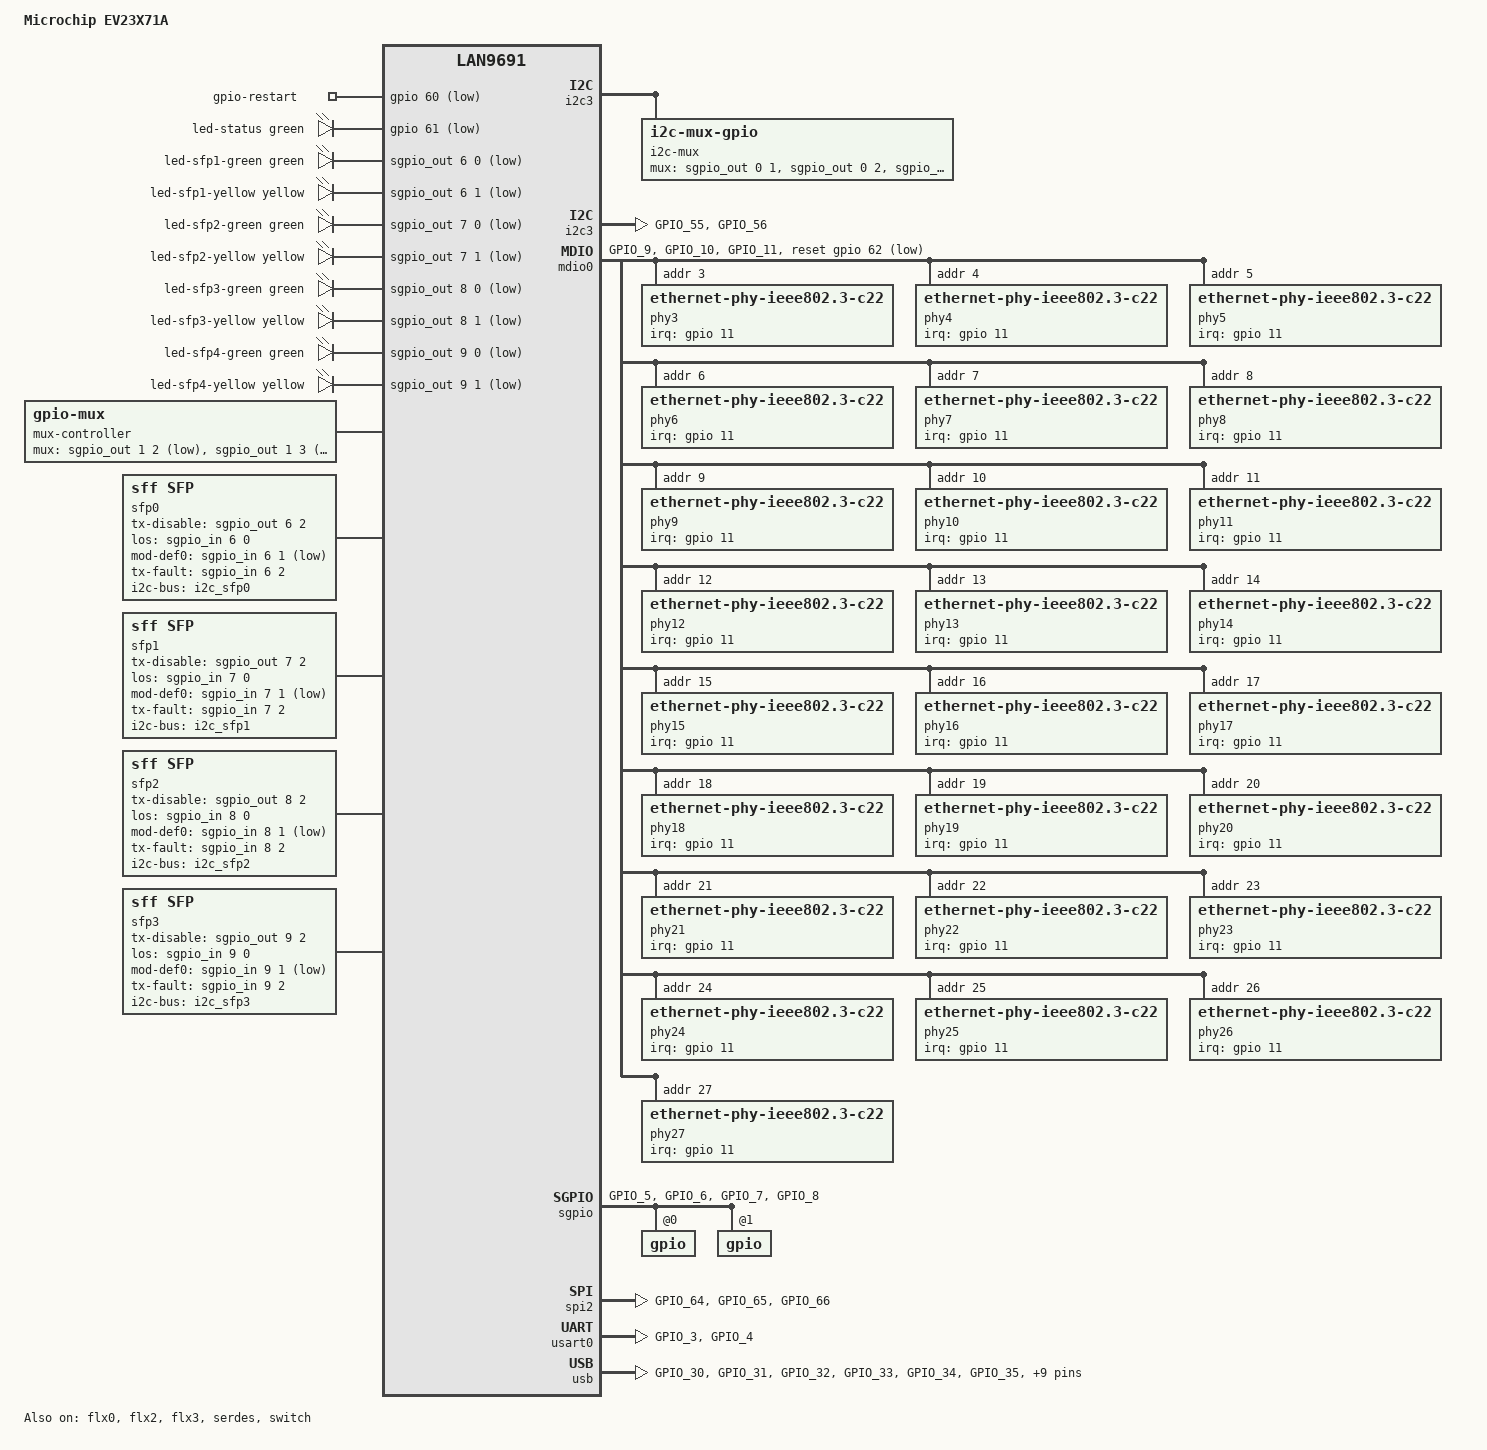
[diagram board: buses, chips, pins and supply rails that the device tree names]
// SPDX-License-Identifier: (GPL-2.0-or-later OR MIT)
/*
 * Copyright (c) 2025 Microchip Technology Inc. and its subsidiaries.
 */

/dts-v1/;

#include <dt-bindings/gpio/gpio.h>
#include <dt-bindings/leds/common.h>
#include "lan9691.dtsi"

/ {
	model = "Microchip EV23X71A";
	compatible = "microchip,ev23x71a", "microchip,lan9696", "microchip,lan9691";

	aliases {
		serial0 = &usart0;
	};

	chosen {
		stdout-path = "serial0:115200n8";
	};

	gpio-restart {
		compatible = "gpio-restart";
		gpios = <&gpio 60 GPIO_ACTIVE_LOW>;
		open-source;
		priority = <200>;
	};

	i2c-mux {
		compatible = "i2c-mux-gpio";
		#address-cells = <1>;
		#size-cells = <0>;
		i2c-parent = <&i2c3>;
		idle-state = <0x8>;
		mux-gpios = <&sgpio_out 0 1 GPIO_ACTIVE_HIGH>,
			    <&sgpio_out 0 2 GPIO_ACTIVE_HIGH>,
			    <&sgpio_out 0 3 GPIO_ACTIVE_HIGH>;
		settle-time-us = <100>;

		i2c_sfp0: i2c@0 {
			reg = <0x0>;
		};

		i2c_sfp1: i2c@1 {
			reg = <0x1>;
		};

		i2c_sfp2: i2c@2 {
			reg = <0x2>;
		};

		i2c_sfp3: i2c@3 {
			reg = <0x3>;
		};

		i2c_poe: i2c@7 {
			reg = <0x7>;
		};
	};

	leds {
		compatible = "gpio-leds";

		led-status {
			color = <LED_COLOR_ID_GREEN>;
			function = LED_FUNCTION_STATUS;
			gpios = <&gpio 61 GPIO_ACTIVE_LOW>;
		};

		led-sfp1-green {
			color = <LED_COLOR_ID_GREEN>;
			function = LED_FUNCTION_LAN;
			function-enumerator = <0>;
			gpios = <&sgpio_out 6 0 GPIO_ACTIVE_LOW>;
			default-state = "off";
		};

		led-sfp1-yellow {
			color = <LED_COLOR_ID_YELLOW>;
			function = LED_FUNCTION_LAN;
			function-enumerator = <0>;
			gpios = <&sgpio_out 6 1 GPIO_ACTIVE_LOW>;
			default-state = "off";
		};

		led-sfp2-green {
			color = <LED_COLOR_ID_GREEN>;
			function = LED_FUNCTION_LAN;
			function-enumerator = <1>;
			gpios = <&sgpio_out 7 0 GPIO_ACTIVE_LOW>;
			default-state = "off";
		};

		led-sfp2-yellow {
			color = <LED_COLOR_ID_YELLOW>;
			function = LED_FUNCTION_LAN;
			function-enumerator = <1>;
			gpios = <&sgpio_out 7 1 GPIO_ACTIVE_LOW>;
			default-state = "off";
		};

		led-sfp3-green {
			color = <LED_COLOR_ID_GREEN>;
			function = LED_FUNCTION_LAN;
			function-enumerator = <2>;
			gpios = <&sgpio_out 8 0 GPIO_ACTIVE_LOW>;
			default-state = "off";
		};

		led-sfp3-yellow {
			color = <LED_COLOR_ID_YELLOW>;
			function = LED_FUNCTION_LAN;
			function-enumerator = <2>;
			gpios = <&sgpio_out 8 1 GPIO_ACTIVE_LOW>;
			default-state = "off";
		};

		led-sfp4-green {
			color = <LED_COLOR_ID_GREEN>;
			function = LED_FUNCTION_LAN;
			function-enumerator = <3>;
			gpios = <&sgpio_out 9 0 GPIO_ACTIVE_LOW>;
			default-state = "off";
		};

		led-sfp4-yellow {
			color = <LED_COLOR_ID_YELLOW>;
			function = LED_FUNCTION_LAN;
			function-enumerator = <3>;
			gpios = <&sgpio_out 9 1 GPIO_ACTIVE_LOW>;
			default-state = "off";
		};
	};

	mux-controller {
		compatible = "gpio-mux";
		#mux-control-cells = <0>;
		mux-gpios = <&sgpio_out 1 2 GPIO_ACTIVE_LOW>,
			    <&sgpio_out 1 3 GPIO_ACTIVE_LOW>;
	};

	sfp0: sfp0 {
		compatible = "sff,sfp";
		i2c-bus = <&i2c_sfp0>;
		tx-disable-gpios = <&sgpio_out 6 2 GPIO_ACTIVE_HIGH>;
		los-gpios = <&sgpio_in 6 0 GPIO_ACTIVE_HIGH>;
		mod-def0-gpios = <&sgpio_in 6 1 GPIO_ACTIVE_LOW>;
		tx-fault-gpios = <&sgpio_in 6 2 GPIO_ACTIVE_HIGH>;
	};

	sfp1: sfp1 {
		compatible = "sff,sfp";
		i2c-bus = <&i2c_sfp1>;
		tx-disable-gpios = <&sgpio_out 7 2 GPIO_ACTIVE_HIGH>;
		los-gpios = <&sgpio_in 7 0 GPIO_ACTIVE_HIGH>;
		mod-def0-gpios = <&sgpio_in 7 1 GPIO_ACTIVE_LOW>;
		tx-fault-gpios = <&sgpio_in 7 2 GPIO_ACTIVE_HIGH>;
	};

	sfp2: sfp2 {
		compatible = "sff,sfp";
		i2c-bus = <&i2c_sfp2>;
		tx-disable-gpios = <&sgpio_out 8 2 GPIO_ACTIVE_HIGH>;
		los-gpios = <&sgpio_in 8 0 GPIO_ACTIVE_HIGH>;
		mod-def0-gpios = <&sgpio_in 8 1 GPIO_ACTIVE_LOW>;
		tx-fault-gpios = <&sgpio_in 8 2 GPIO_ACTIVE_HIGH>;
	};

	sfp3: sfp3 {
		compatible = "sff,sfp";
		i2c-bus = <&i2c_sfp3>;
		tx-disable-gpios = <&sgpio_out 9 2 GPIO_ACTIVE_HIGH>;
		los-gpios = <&sgpio_in 9 0 GPIO_ACTIVE_HIGH>;
		mod-def0-gpios = <&sgpio_in 9 1 GPIO_ACTIVE_LOW>;
		tx-fault-gpios = <&sgpio_in 9 2 GPIO_ACTIVE_HIGH>;
	};
};

&gpio {
	emmc_sd_pins: emmc-sd-pins {
		/* eMMC_SD - CMD, CLK, D0, D1, D2, D3, D4, D5, D6, D7, RSTN */
		pins = "GPIO_14", "GPIO_15", "GPIO_16", "GPIO_17",
		       "GPIO_18", "GPIO_19", "GPIO_20", "GPIO_21",
		       "GPIO_22", "GPIO_23", "GPIO_24";
		function = "emmc_sd";
	};

	fan_pins: fan-pins {
		pins = "GPIO_25", "GPIO_26";
		function = "fan";
	};

	fc0_pins: fc0-pins {
		pins = "GPIO_3", "GPIO_4";
		function = "fc";
	};

	fc2_pins: fc2-pins {
		pins = "GPIO_64", "GPIO_65", "GPIO_66";
		function = "fc";
	};

	fc3_pins: fc3-pins {
		pins = "GPIO_55", "GPIO_56";
		function = "fc";
	};

	mdio_irq_pins: mdio-irq-pins {
		pins = "GPIO_11";
		function = "miim_irq";
	};

	mdio_pins: mdio-pins {
		pins = "GPIO_9", "GPIO_10";
		function = "miim";
	};

	ptp_ext_pins: ptp-ext-pins {
		pins = "GPIO_59";
		function = "ptpsync_5";
	};

	ptp_out_pins: ptp-out-pins {
		pins = "GPIO_58";
		function = "ptpsync_4";
	};

	sgpio_pins: sgpio-pins {
		/* SCK, D0, D1, LD */
		pins = "GPIO_5", "GPIO_6", "GPIO_7", "GPIO_8";
		function = "sgpio_a";
	};

	usb_over_pins: usb-over-pins {
		pins = "GPIO_13";
		function = "usb_over_detect";
	};

	usb_power_pins: usb-power-pins {
		pins = "GPIO_1";
		function = "usb_power";
	};

	usb_rst_pins: usb-rst-pins {
		pins = "GPIO_12";
		function = "usb2phy_rst";
	};

	usb_ulpi_pins: usb-ulpi-pins {
		pins = "GPIO_30", "GPIO_31", "GPIO_32", "GPIO_33",
		       "GPIO_34", "GPIO_35", "GPIO_36", "GPIO_37",
		       "GPIO_38", "GPIO_39", "GPIO_40", "GPIO_41";
		function = "usb_ulpi";
	};
};

&flx0 {
	atmel,flexcom-mode = <ATMEL_FLEXCOM_MODE_USART>;
	status = "okay";
};

&flx2 {
	atmel,flexcom-mode = <ATMEL_FLEXCOM_MODE_SPI>;
	status = "okay";
};

&flx3 {
	atmel,flexcom-mode = <ATMEL_FLEXCOM_MODE_TWI>;
	status = "okay";
};

&i2c3 {
	pinctrl-0 = <&fc3_pins>;
	pinctrl-names = "default";
	i2c-analog-filter;
	i2c-digital-filter;
	i2c-digital-filter-width-ns = <35>;
	i2c-sda-hold-time-ns = <1500>;
	status = "okay";
};

&mdio0 {
	pinctrl-0 = <&mdio_pins>, <&mdio_irq_pins>;
	pinctrl-names = "default";
	reset-gpios = <&gpio 62 GPIO_ACTIVE_LOW>;
	status = "okay";

	phy3: phy@3 {
		compatible = "ethernet-phy-ieee802.3-c22";
		reg = <3>;
		interrupts = <11 IRQ_TYPE_LEVEL_LOW>;
		interrupt-parent = <&gpio>;
	};

	phy4: phy@4 {
		compatible = "ethernet-phy-ieee802.3-c22";
		reg = <4>;
		interrupts = <11 IRQ_TYPE_LEVEL_LOW>;
		interrupt-parent = <&gpio>;
	};

	phy5: phy@5 {
		compatible = "ethernet-phy-ieee802.3-c22";
		reg = <5>;
		interrupts = <11 IRQ_TYPE_LEVEL_LOW>;
		interrupt-parent = <&gpio>;
	};

	phy6: phy@6 {
		compatible = "ethernet-phy-ieee802.3-c22";
		reg = <6>;
		interrupts = <11 IRQ_TYPE_LEVEL_LOW>;
		interrupt-parent = <&gpio>;
	};

	phy7: phy@7 {
		compatible = "ethernet-phy-ieee802.3-c22";
		reg = <7>;
		interrupts = <11 IRQ_TYPE_LEVEL_LOW>;
		interrupt-parent = <&gpio>;
	};

	phy8: phy@8 {
		compatible = "ethernet-phy-ieee802.3-c22";
		reg = <8>;
		interrupts = <11 IRQ_TYPE_LEVEL_LOW>;
		interrupt-parent = <&gpio>;
	};

	phy9: phy@9 {
		compatible = "ethernet-phy-ieee802.3-c22";
		reg = <9>;
		interrupts = <11 IRQ_TYPE_LEVEL_LOW>;
		interrupt-parent = <&gpio>;
	};

	phy10: phy@10 {
		compatible = "ethernet-phy-ieee802.3-c22";
		reg = <10>;
		interrupts = <11 IRQ_TYPE_LEVEL_LOW>;
		interrupt-parent = <&gpio>;
	};

	phy11: phy@11 {
		compatible = "ethernet-phy-ieee802.3-c22";
		reg = <11>;
		interrupts = <11 IRQ_TYPE_LEVEL_LOW>;
		interrupt-parent = <&gpio>;
	};

	phy12: phy@12 {
		compatible = "ethernet-phy-ieee802.3-c22";
		reg = <12>;
		interrupts = <11 IRQ_TYPE_LEVEL_LOW>;
		interrupt-parent = <&gpio>;
	};

	phy13: phy@13 {
		compatible = "ethernet-phy-ieee802.3-c22";
		reg = <13>;
		interrupts = <11 IRQ_TYPE_LEVEL_LOW>;
		interrupt-parent = <&gpio>;
	};

	phy14: phy@14 {
		compatible = "ethernet-phy-ieee802.3-c22";
		reg = <14>;
		interrupts = <11 IRQ_TYPE_LEVEL_LOW>;
		interrupt-parent = <&gpio>;
	};

	phy15: phy@15 {
		compatible = "ethernet-phy-ieee802.3-c22";
		reg = <15>;
		interrupts = <11 IRQ_TYPE_LEVEL_LOW>;
		interrupt-parent = <&gpio>;
	};

	phy16: phy@16 {
		compatible = "ethernet-phy-ieee802.3-c22";
		reg = <16>;
		interrupts = <11 IRQ_TYPE_LEVEL_LOW>;
		interrupt-parent = <&gpio>;
	};

	phy17: phy@17 {
		compatible = "ethernet-phy-ieee802.3-c22";
		reg = <17>;
		interrupts = <11 IRQ_TYPE_LEVEL_LOW>;
		interrupt-parent = <&gpio>;
	};

	phy18: phy@18 {
		compatible = "ethernet-phy-ieee802.3-c22";
		reg = <18>;
		interrupts = <11 IRQ_TYPE_LEVEL_LOW>;
		interrupt-parent = <&gpio>;
	};

	phy19: phy@19 {
		compatible = "ethernet-phy-ieee802.3-c22";
		reg = <19>;
		interrupts = <11 IRQ_TYPE_LEVEL_LOW>;
		interrupt-parent = <&gpio>;
	};

	phy20: phy@20 {
		compatible = "ethernet-phy-ieee802.3-c22";
		reg = <20>;
		interrupts = <11 IRQ_TYPE_LEVEL_LOW>;
		interrupt-parent = <&gpio>;
	};

	phy21: phy@21 {
		compatible = "ethernet-phy-ieee802.3-c22";
		reg = <21>;
		interrupts = <11 IRQ_TYPE_LEVEL_LOW>;
		interrupt-parent = <&gpio>;
	};

	phy22: phy@22 {
		compatible = "ethernet-phy-ieee802.3-c22";
		reg = <22>;
		interrupts = <11 IRQ_TYPE_LEVEL_LOW>;
		interrupt-parent = <&gpio>;
	};

	phy23: phy@23 {
		compatible = "ethernet-phy-ieee802.3-c22";
		reg = <23>;
		interrupts = <11 IRQ_TYPE_LEVEL_LOW>;
		interrupt-parent = <&gpio>;
	};

	phy24: phy@24 {
		compatible = "ethernet-phy-ieee802.3-c22";
		reg = <24>;
		interrupts = <11 IRQ_TYPE_LEVEL_LOW>;
		interrupt-parent = <&gpio>;
	};

	phy25: phy@25 {
		compatible = "ethernet-phy-ieee802.3-c22";
		reg = <25>;
		interrupts = <11 IRQ_TYPE_LEVEL_LOW>;
		interrupt-parent = <&gpio>;
	};

	phy26: phy@26 {
		compatible = "ethernet-phy-ieee802.3-c22";
		reg = <26>;
		interrupts = <11 IRQ_TYPE_LEVEL_LOW>;
		interrupt-parent = <&gpio>;
	};

	phy27: phy@27 {
		compatible = "ethernet-phy-ieee802.3-c22";
		reg = <27>;
		interrupts = <11 IRQ_TYPE_LEVEL_LOW>;
		interrupt-parent = <&gpio>;
	};
};

&serdes {
	status = "okay";
};

&sgpio {
	pinctrl-0 = <&sgpio_pins>;
	pinctrl-names = "default";
	microchip,sgpio-port-ranges = <0 1>, <6 9>;
	status = "okay";

	gpio@0 {
		ngpios = <128>;
	};
	gpio@1 {
		ngpios = <128>;
	};
};

&spi2 {
	pinctrl-0 = <&fc2_pins>;
	pinctrl-names = "default";
	cs-gpios = <&gpio 63 GPIO_ACTIVE_LOW>;
	status = "okay";
};

&switch {
	pinctrl-0 = <&ptp_out_pins>, <&ptp_ext_pins>;
	pinctrl-names = "default";
	status = "okay";

	ethernet-ports {
		#address-cells = <1>;
		#size-cells = <0>;

		port0: port@0 {
			reg = <0>;
			phy-handle = <&phy4>;
			phy-mode = "qsgmii";
			phys = <&serdes 0>;
			microchip,bandwidth = <1000>;
		};

		port1: port@1 {
			reg = <1>;
			phy-handle = <&phy5>;
			phy-mode = "qsgmii";
			phys = <&serdes 0>;
			microchip,bandwidth = <1000>;
		};

		port2: port@2 {
			reg = <2>;
			phy-handle = <&phy6>;
			phy-mode = "qsgmii";
			phys = <&serdes 0>;
			microchip,bandwidth = <1000>;
		};

		port3: port@3 {
			reg = <3>;
			phy-handle = <&phy7>;
			phy-mode = "qsgmii";
			phys = <&serdes 0>;
			microchip,bandwidth = <1000>;
		};

		port4: port@4 {
			reg = <4>;
			phy-handle = <&phy8>;
			phy-mode = "qsgmii";
			phys = <&serdes 1>;
			microchip,bandwidth = <1000>;
		};

		port5: port@5 {
			reg = <5>;
			phy-handle = <&phy9>;
			phy-mode = "qsgmii";
			phys = <&serdes 1>;
			microchip,bandwidth = <1000>;
		};

		port6: port@6 {
			reg = <6>;
			phy-handle = <&phy10>;
			phy-mode = "qsgmii";
			phys = <&serdes 1>;
			microchip,bandwidth = <1000>;
		};

		port7: port@7 {
			reg = <7>;
			phy-handle = <&phy11>;
			phy-mode = "qsgmii";
			phys = <&serdes 1>;
			microchip,bandwidth = <1000>;
		};

		port8: port@8 {
			reg = <8>;
			phy-handle = <&phy12>;
			phy-mode = "qsgmii";
			phys = <&serdes 2>;
			microchip,bandwidth = <1000>;
		};

		port9: port@9 {
			reg = <9>;
			phy-handle = <&phy13>;
			phy-mode = "qsgmii";
			phys = <&serdes 2>;
			microchip,bandwidth = <1000>;
		};

		port10: port@10 {
			reg = <10>;
			phy-handle = <&phy14>;
			phy-mode = "qsgmii";
			phys = <&serdes 2>;
			microchip,bandwidth = <1000>;
		};

		port11: port@11 {
			reg = <11>;
			phy-handle = <&phy15>;
			phy-mode = "qsgmii";
			phys = <&serdes 2>;
			microchip,bandwidth = <1000>;
		};

		port12: port@12 {
			reg = <12>;
			phy-handle = <&phy16>;
			phy-mode = "qsgmii";
			phys = <&serdes 3>;
			microchip,bandwidth = <1000>;
		};

		port13: port@13 {
			reg = <13>;
			phy-handle = <&phy17>;
			phy-mode = "qsgmii";
			phys = <&serdes 3>;
			microchip,bandwidth = <1000>;
		};

		port14: port@14 {
			reg = <14>;
			phy-handle = <&phy18>;
			phy-mode = "qsgmii";
			phys = <&serdes 3>;
			microchip,bandwidth = <1000>;
		};

		port15: port@15 {
			reg = <15>;
			phy-handle = <&phy19>;
			phy-mode = "qsgmii";
			phys = <&serdes 3>;
			microchip,bandwidth = <1000>;
		};

		port16: port@16 {
			reg = <16>;
			phy-handle = <&phy20>;
			phy-mode = "qsgmii";
			phys = <&serdes 4>;
			microchip,bandwidth = <1000>;
		};

		port17: port@17 {
			reg = <17>;
			phy-handle = <&phy21>;
			phy-mode = "qsgmii";
			phys = <&serdes 4>;
			microchip,bandwidth = <1000>;
		};

		port18: port@18 {
			reg = <18>;
			phy-handle = <&phy22>;
			phy-mode = "qsgmii";
			phys = <&serdes 4>;
			microchip,bandwidth = <1000>;
		};

		port19: port@19 {
			reg = <19>;
			phy-handle = <&phy23>;
			phy-mode = "qsgmii";
			phys = <&serdes 4>;
			microchip,bandwidth = <1000>;
		};

		port20: port@20 {
			reg = <20>;
			phy-handle = <&phy24>;
			phy-mode = "qsgmii";
			phys = <&serdes 5>;
			microchip,bandwidth = <1000>;
		};

		port21: port@21 {
			reg = <21>;
			phy-handle = <&phy25>;
			phy-mode = "qsgmii";
			phys = <&serdes 5>;
			microchip,bandwidth = <1000>;
		};

		port22: port@22 {
			reg = <22>;
			phy-handle = <&phy26>;
			phy-mode = "qsgmii";
			phys = <&serdes 5>;
			microchip,bandwidth = <1000>;
		};

		port23: port@23 {
			reg = <23>;
			phy-handle = <&phy27>;
			phy-mode = "qsgmii";
			phys = <&serdes 5>;
			microchip,bandwidth = <1000>;
		};

		port24: port@24 {
			reg = <24>;
			phys = <&serdes 6>;
			phy-mode = "10gbase-r";
			sfp = <&sfp0>;
			managed = "in-band-status";
			microchip,bandwidth = <10000>;
			microchip,sd-sgpio = <24>;
		};

		port25: port@25 {
			reg = <25>;
			phys = <&serdes 7>;
			phy-mode = "10gbase-r";
			sfp = <&sfp1>;
			managed = "in-band-status";
			microchip,bandwidth = <10000>;
			microchip,sd-sgpio = <28>;
		};

		port26: port@26 {
			reg = <26>;
			phys = <&serdes 8>;
			phy-mode = "10gbase-r";
			sfp = <&sfp2>;
			managed = "in-band-status";
			microchip,bandwidth = <10000>;
			microchip,sd-sgpio = <32>;
		};

		port27: port@27 {
			reg = <27>;
			phys = <&serdes 9>;
			phy-mode = "10gbase-r";
			sfp = <&sfp3>;
			managed = "in-band-status";
			microchip,bandwidth = <10000>;
			microchip,sd-sgpio = <36>;
		};

		port29: port@29 {
			reg = <29>;
			phy-handle = <&phy3>;
			phy-mode = "rgmii-id";
			microchip,bandwidth = <1000>;
		};
	};
};

&tmon {
	pinctrl-0 = <&fan_pins>;
	pinctrl-names = "default";
};

&usart0 {
	pinctrl-0 = <&fc0_pins>;
	pinctrl-names = "default";
	status = "okay";
};

&usb {
	pinctrl-0 = <&usb_ulpi_pins>, <&usb_rst_pins>, <&usb_over_pins>, <&usb_power_pins>;
	pinctrl-names = "default";
	status = "okay";
};
